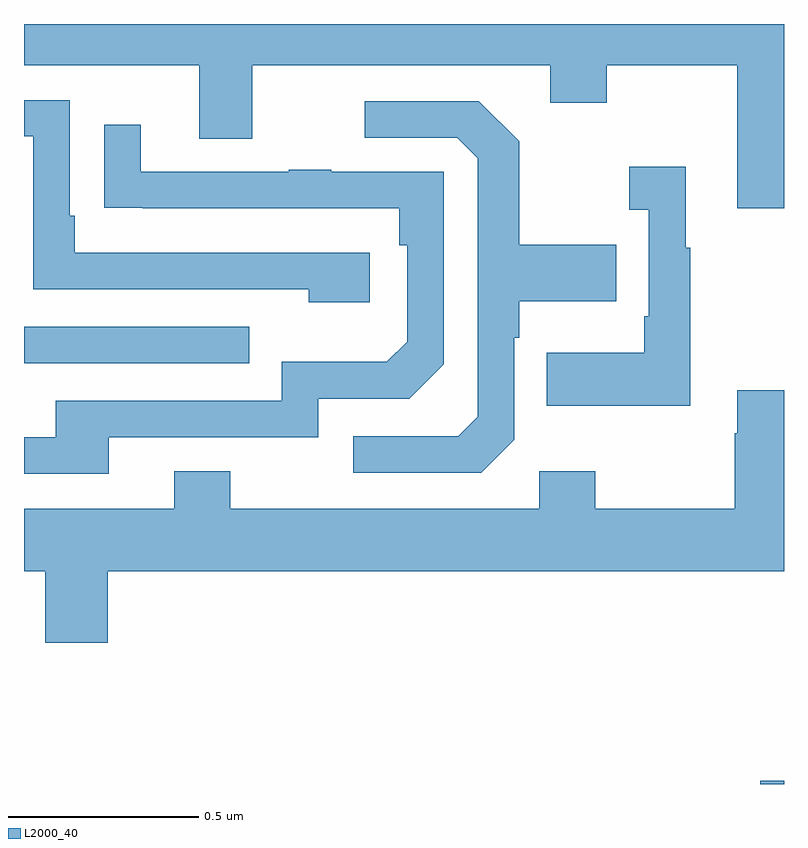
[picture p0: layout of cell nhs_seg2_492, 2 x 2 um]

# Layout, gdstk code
import gdstk
lib = gdstk.Library(unit=1e-6, precision=1e-09)
def R(c, l, rs):  # rectangles x0, y0, x1, y1
    for r in rs: c.add(gdstk.rectangle(r[:2], r[2:], *l))
def P(c, l, *ps):  # polygons
    for p in ps: c.add(gdstk.Polygon(p, *l))
L2000_40 = (2000, 40)

nhs_seg2_492 = lib.new_cell('nhs_seg2_492')
R(nhs_seg2_492, L2000_40, [(118.938,589.8,119,589.808), (117,590.907,117.593,591.003)])
P(nhs_seg2_492, L2000_40, [(119,591.8),(117,591.8),(117,591.692),(117.461,591.692),(117.461,591.498),(117.601,591.498),(117.601,591.692),(118.385,591.692),(118.385,591.593),(118.533,591.593),(118.533,591.692),(118.877,591.692),(118.877,591.315),(119,591.315)],
  [(117.91,591.198),(117.133,591.198),(117.133,591.295),(117.12,591.295),(117.12,591.6),(117,591.6),(117,591.504),(117.024,591.504),(117.024,591.102),(117.749,591.102),(117.749,591.068),(117.91,591.068)],
  [(118.29,590.706),(118.29,590.975),(118.303,590.975),(118.303,591.071),(118.559,591.071),(118.559,591.219),(118.303,591.219),(118.303,591.491),(118.197,591.597),(117.897,591.597),(117.897,591.501),(118.14,591.501),(118.194,591.447),(118.194,590.766),(118.143,590.715),(117.867,590.715),(117.867,590.619),(118.203,590.619)],
  [(117.223,590.712),(117.774,590.712),(117.774,590.814),(118.014,590.814),(118.104,590.904),(118.104,591.411),(117.809,591.411),(117.809,591.416),(117.697,591.416),(117.697,591.411),(117.307,591.411),(117.307,591.535),(117.211,591.535),(117.211,591.316),(117.313,591.316),(117.313,591.315),(117.988,591.315),(117.988,591.218),(118.008,591.218),(118.008,590.964),(117.955,590.911),(117.678,590.911),(117.678,590.808),(117.083,590.808),(117.083,590.712),(117,590.712),(117,590.616),(117.223,590.616)],
  [(118.753,591.211),(118.741,591.211),(118.741,591.424),(118.593,591.424),(118.593,591.311),(118.644,591.311),(118.644,591.031),(118.632,591.031),(118.632,590.935),(118.375,590.935),(118.375,590.795),(118.753,590.795)],
  [(117.22,590.36),(119,590.36),(119,590.836),(118.877,590.836),(118.877,590.723),(118.87,590.723),(118.87,590.524),(118.503,590.524),(118.503,590.623),(118.356,590.623),(118.356,590.524),(117.543,590.524),(117.543,590.623),(117.395,590.623),(117.395,590.524),(117,590.524),(117,590.36),(117.056,590.36),(117.056,590.172),(117.22,590.172)])

lib.write_gds('nhs_seg2_492.gds')
